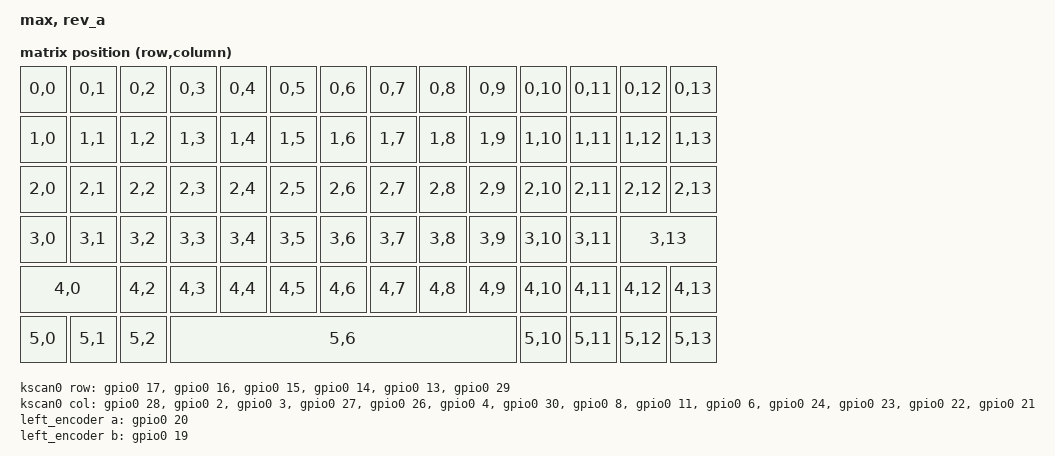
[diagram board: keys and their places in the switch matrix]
/*
 * Copyright (c) 2020 The ZMK Contributors
 *
 * SPDX-License-Identifier: MIT
 */

/dts-v1/;
#include <nordic/nrf52840_qiaa.dtsi>
#include <physical_layouts.dtsi>
#include <dt-bindings/led/led.h>
#include <dt-bindings/zmk/matrix_transform.h>
#include "max.dtsi"

/ {
	model = "max, rev_a";
	compatible = "max,rev_a";

	chosen {
		zephyr,code-partition = &code_partition;
		zephyr,sram = &sram0;
		zephyr,flash = &flash0;
		zmk,battery = &fuel_gauge;
		// zmk,kscan = &kscan0;
		// zmk,matrix_transform = &default_transform;
                zmk,physical-layout = &matrix_physical_layout;
		zmk,underglow = &led_strip;
	};

        matrix_physical_layout: matrix_physical_layout {
            compatible = "zmk,physical-layout";
            display-name = "Matrix Layout";

            kscan = <&kscan0>;
            transform = <&default_transform>;

            // key_physical_attrs params
            // int16_t width;
            // int16_t height;
            // int16_t x;
            // int16_t y;
            // int16_t rx;
            // int16_t ry;
            // int16_t r;
            keys
                // top row, full 14 keys (though the far right is a rotary)
                = <&key_physical_attrs 100 100 0    0   0 0 0>
                , <&key_physical_attrs 100 100 100  0   0 0 0>
                , <&key_physical_attrs 100 100 200  0   0 0 0>
                , <&key_physical_attrs 100 100 300  0   0 0 0>
                , <&key_physical_attrs 100 100 400  0   0 0 0>
                , <&key_physical_attrs 100 100 500  0   0 0 0>
                , <&key_physical_attrs 100 100 600  0   0 0 0>
                , <&key_physical_attrs 100 100 700  0   0 0 0>
                , <&key_physical_attrs 100 100 800  0   0 0 0>
                , <&key_physical_attrs 100 100 900  0   0 0 0>
                , <&key_physical_attrs 100 100 1000 0   0 0 0>
                , <&key_physical_attrs 100 100 1100 0   0 0 0>
                , <&key_physical_attrs 100 100 1200 0   0 0 0>
                , <&key_physical_attrs 100 100 1300 0   0 0 0>

                // second from the top, full 14 keys
                , <&key_physical_attrs 100 100 0    100 0 0 0>
                , <&key_physical_attrs 100 100 100  100 0 0 0>
                , <&key_physical_attrs 100 100 200  100 0 0 0>
                , <&key_physical_attrs 100 100 300  100 0 0 0>
                , <&key_physical_attrs 100 100 400  100 0 0 0>
                , <&key_physical_attrs 100 100 500  100 0 0 0>
                , <&key_physical_attrs 100 100 600  100 0 0 0>
                , <&key_physical_attrs 100 100 700  100 0 0 0>
                , <&key_physical_attrs 100 100 800  100 0 0 0>
                , <&key_physical_attrs 100 100 900  100 0 0 0>
                , <&key_physical_attrs 100 100 1000 100 0 0 0>
                , <&key_physical_attrs 100 100 1100 100 0 0 0>
                , <&key_physical_attrs 100 100 1200 100 0 0 0>
                , <&key_physical_attrs 100 100 1300 100 0 0 0>

                // third from the top, full 14 keys
                , <&key_physical_attrs 100 100 0    200 0 0 0>
                , <&key_physical_attrs 100 100 100  200 0 0 0>
                , <&key_physical_attrs 100 100 200  200 0 0 0>
                , <&key_physical_attrs 100 100 300  200 0 0 0>
                , <&key_physical_attrs 100 100 400  200 0 0 0>
                , <&key_physical_attrs 100 100 500  200 0 0 0>
                , <&key_physical_attrs 100 100 600  200 0 0 0>
                , <&key_physical_attrs 100 100 700  200 0 0 0>
                , <&key_physical_attrs 100 100 800  200 0 0 0>
                , <&key_physical_attrs 100 100 900  200 0 0 0>
                , <&key_physical_attrs 100 100 1000 200 0 0 0>
                , <&key_physical_attrs 100 100 1100 200 0 0 0>
                , <&key_physical_attrs 100 100 1200 200 0 0 0>
                , <&key_physical_attrs 100 100 1300 200 0 0 0>

                // fourth from the top, 13 keys, last key on the right is double width
                , <&key_physical_attrs 100 100 0    300 0 0 0>
                , <&key_physical_attrs 100 100 100  300 0 0 0>
                , <&key_physical_attrs 100 100 200  300 0 0 0>
                , <&key_physical_attrs 100 100 300  300 0 0 0>
                , <&key_physical_attrs 100 100 400  300 0 0 0>
                , <&key_physical_attrs 100 100 500  300 0 0 0>
                , <&key_physical_attrs 100 100 600  300 0 0 0>
                , <&key_physical_attrs 100 100 700  300 0 0 0>
                , <&key_physical_attrs 100 100 800  300 0 0 0>
                , <&key_physical_attrs 100 100 900  300 0 0 0>
                , <&key_physical_attrs 100 100 1000 300 0 0 0>
                , <&key_physical_attrs 100 100 1100 300 0 0 0>
                , <&key_physical_attrs 200 100 1200 300 0 0 0>

                // fifth from the top, 13 keys, first key is double width
                , <&key_physical_attrs 200 100 0    400 0 0 0>
                , <&key_physical_attrs 100 100 200  400 0 0 0>
                , <&key_physical_attrs 100 100 300  400 0 0 0>
                , <&key_physical_attrs 100 100 400  400 0 0 0>
                , <&key_physical_attrs 100 100 500  400 0 0 0>
                , <&key_physical_attrs 100 100 600  400 0 0 0>
                , <&key_physical_attrs 100 100 700  400 0 0 0>
                , <&key_physical_attrs 100 100 800  400 0 0 0>
                , <&key_physical_attrs 100 100 900  400 0 0 0>
                , <&key_physical_attrs 100 100 1000 400 0 0 0>
                , <&key_physical_attrs 100 100 1100 400 0 0 0>
                , <&key_physical_attrs 100 100 1200 400 0 0 0>
                , <&key_physical_attrs 100 100 1300 400 0 0 0>

                // sixth from the top, 4th key is spacebar and 7 columns, 8 keys total
                , <&key_physical_attrs 100 100 0    500 0 0 0>
                , <&key_physical_attrs 100 100 100  500 0 0 0>
                , <&key_physical_attrs 100 100 200  500 0 0 0>
                , <&key_physical_attrs 700 100 300  500 0 0 0>
                , <&key_physical_attrs 100 100 1000 500 0 0 0>
                , <&key_physical_attrs 100 100 1100 500 0 0 0>
                , <&key_physical_attrs 100 100 1200 500 0 0 0>
                , <&key_physical_attrs 100 100 1300 500 0 0 0>
                ;
        };

        // this transform basically filters out some of the GPIO locations defined in kscan0 below.
        // i.e. kscan0 explains that we have 15 columns and 6 rows worth of possible connections.
        // but this transform indicates which are actually in use, and which GPIO position those map
        // to. for example, (5,3), (5,4), and (5,5) are not in use because of physical spacing but
        // (5,6) is the space bar.
        // the main benefit of this seems to be just so that "users don't have to set them [unused positions] to &none in keymaps."
	default_transform: keymap_transform_0 {
		compatible = "zmk,matrix-transform";
		columns = <14>;
		rows = <6>;
		map = <
			RC(0,0)  RC(0,1)  RC(0,2)  RC(0,3)  RC(0,4)  RC(0,5)  RC(0,6)  RC(0,7)  RC(0,8)  RC(0,9)  RC(0,10)  RC(0,11)  RC(0,12)  RC(0,13)
			RC(1,0)  RC(1,1)  RC(1,2)  RC(1,3)  RC(1,4)  RC(1,5)  RC(1,6)  RC(1,7)  RC(1,8)  RC(1,9)  RC(1,10)  RC(1,11)  RC(1,12)  RC(1,13)
			RC(2,0)  RC(2,1)  RC(2,2)  RC(2,3)  RC(2,4)  RC(2,5)  RC(2,6)  RC(2,7)  RC(2,8)  RC(2,9)  RC(2,10)  RC(2,11)  RC(2,12)  RC(2,13)
			RC(3,0)  RC(3,1)  RC(3,2)  RC(3,3)  RC(3,4)  RC(3,5)  RC(3,6)  RC(3,7)  RC(3,8)  RC(3,9)  RC(3,10)  RC(3,11)            RC(3,13)
			RC(4,0)           RC(4,2)  RC(4,3)  RC(4,4)  RC(4,5)  RC(4,6)  RC(4,7)  RC(4,8)  RC(4,9)  RC(4,10)  RC(4,11)  RC(4,12)  RC(4,13)
			RC(5,0)  RC(5,1)  RC(5,2)                             RC(5,6)                             RC(5,10)  RC(5,11)  RC(5,12)  RC(5,13)
			>;
	};


        // defines which GPIO on the microcontroller are connected to which rows and columns of the PCB.
	kscan0: kscan {
		compatible = "zmk,kscan-gpio-matrix";
		label = "KSCAN";
		diode-direction = "col2row";
		row-gpios
			= <&gpio0 17 (GPIO_ACTIVE_HIGH | GPIO_PULL_DOWN)>
			, <&gpio0 16 (GPIO_ACTIVE_HIGH | GPIO_PULL_DOWN)>
			, <&gpio0 15 (GPIO_ACTIVE_HIGH | GPIO_PULL_DOWN)>
			, <&gpio0 14 (GPIO_ACTIVE_HIGH | GPIO_PULL_DOWN)>
			, <&gpio0 13 (GPIO_ACTIVE_HIGH | GPIO_PULL_DOWN)>
			, <&gpio0 29 (GPIO_ACTIVE_HIGH | GPIO_PULL_DOWN)>
			;
		col-gpios
			= <&gpio0 28 GPIO_ACTIVE_HIGH>
			, <&gpio0  2 GPIO_ACTIVE_HIGH>
			, <&gpio0  3 GPIO_ACTIVE_HIGH>
			, <&gpio0 27 GPIO_ACTIVE_HIGH>
			, <&gpio0 26 GPIO_ACTIVE_HIGH>
			, <&gpio0  4 GPIO_ACTIVE_HIGH>
			, <&gpio0 30 GPIO_ACTIVE_HIGH>
			, <&gpio0  8 GPIO_ACTIVE_HIGH>
			, <&gpio0 11 GPIO_ACTIVE_HIGH>
			, <&gpio0  6 GPIO_ACTIVE_HIGH>
			, <&gpio0 24 GPIO_ACTIVE_HIGH>
			, <&gpio0 23 GPIO_ACTIVE_HIGH>
			, <&gpio0 22 GPIO_ACTIVE_HIGH>
			, <&gpio0 21 GPIO_ACTIVE_HIGH>
			;
	};

	sensors {
    	compatible = "zmk,keymap-sensors";
    	sensors = <&left_encoder>;
	};

	left_encoder: encoder_left {
        compatible = "alps,ec11";
        label = "LEFT_ENCODER";
        a-gpios = <&gpio0 20 (GPIO_ACTIVE_HIGH | GPIO_PULL_UP)>;
        b-gpios = <&gpio0 19 (GPIO_ACTIVE_HIGH | GPIO_PULL_UP)>;
        resolution = <2>;
    };

	ext-power {
		compatible = "zmk,ext-power-generic";
		label = "EXT_POWER";
		control-gpios = <&gpio0 10 GPIO_ACTIVE_HIGH>;
	};
};

&gpio0 {
	status = "okay";
};

&gpio1 {
	status = "okay";
};

&usbd {
	status = "okay";
};


zephyr_udc0: &usbd {
    status = "okay";
    // cdc_acm_uart: cdc_acm_uart {
    //     compatible = "zephyr,cdc-acm-uart";
    // };
};


&i2c0 {
	compatible = "nordic,nrf-twi";
	status = "okay";
        pinctrl-0 = <&i2c0_default>;
        pinctrl-1 = <&i2c0_sleep>;
        pinctrl-names = "default", "sleep";

	fuel_gauge: max17048@36 {
		compatible = "zmk,maxim-max17048";
		status = "okay";
		reg = <0x36>;
	};
};

&spi1 {
  compatible = "nordic,nrf-spim";
  status = "okay";

  pinctrl-0 = <&spi1_default>;
  pinctrl-1 = <&spi1_sleep>;
  pinctrl-names = "default", "sleep";

  led_strip: ws2812@0 {
    compatible = "worldsemi,ws2812-spi";
    label = "WS2812";

    /* SPI */
    reg = <0>; /* ignored, but necessary for SPI bindings */
    spi-max-frequency = <4000000>;

    /* WS2812 */
    /* https://docs.zephyrproject.org/latest/build/dts/api/bindings/led_strip/worldsemi,ws2812-spi.html */
    chain-length = <5>; /* number of LEDs */
    spi-one-frame = <0x70>;
    spi-zero-frame = <0x40>;
    color-mapping = <LED_COLOR_ID_GREEN
                     LED_COLOR_ID_RED
                     LED_COLOR_ID_BLUE>;
  };
};

&flash0 {
	/*
	 * For more information, see:
	 * http://docs.zephyrproject.org/latest/devices/dts/flash_partitions.html
	 */
	partitions {
		compatible = "fixed-partitions";
		#address-cells = <1>;
		#size-cells = <1>;

		sd_partition: partition@0 {
			label = "softdevice";
			reg = <0x00000000 0x00026000>;
		};
		code_partition: partition@26000 {
			label = "code_partition";
			reg = <0x00026000 0x000c6000>;
		};

		/*
		 * The flash starting at 0x000ec000 and ending at
		 * 0x000f3fff is reserved for use by the application.
		 */

		/*
		 * Storage partition will be used by FCB/LittleFS/NVS
		 * if enabled.
		 */
		storage_partition: partition@ec000 {
			label = "storage";
			reg = <0x000ec000 0x00008000>;
		};

		boot_partition: partition@f4000 {
			label = "adafruit_boot";
			reg = <0x000f4000 0x0000c000>;
		};
	};
};
